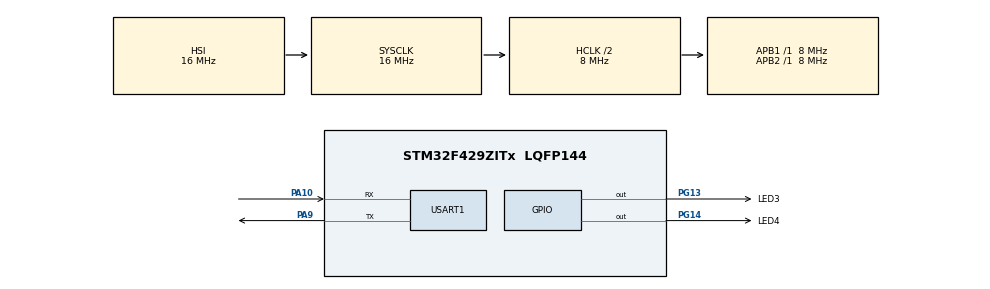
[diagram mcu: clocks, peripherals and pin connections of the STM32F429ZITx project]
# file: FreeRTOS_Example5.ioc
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FREERTOS.Tasks01=defaultTask,0,128,StartDefaultTask,Default,NULL,Dynamic,NULL,NULL
Mcu.Family=STM32F4
Mcu.Name=STM32F429ZITx
Mcu.Package=LQFP144
NVIC.PriorityGroup=NVIC_PRIORITYGROUP_4
NVIC.TIM6_DAC_IRQn=true\:0\:0\:false\:false\:true\:false\:false\:true
NVIC.TimeBase=TIM6_DAC_IRQn
NVIC.TimeBaseIP=TIM6
PA10.Mode=Asynchronous
PA10.Signal=USART1_RX
PA13.Mode=Serial_Wire
PA13.Signal=SYS_JTMS-SWDIO
PA14.Mode=Serial_Wire
PA14.Signal=SYS_JTCK-SWCLK
PA9.Mode=Asynchronous
PA9.Signal=USART1_TX
PG13.GPIO_Label=LED3
PG13.Signal=GPIO_Output
PG14.GPIO_Label=LED4
PG14.Signal=GPIO_Output
PH0/OSC_IN.Mode=HSE-External-Oscillator
PH0/OSC_IN.Signal=RCC_OSC_IN
PH1/OSC_OUT.Mode=HSE-External-Oscillator
PH1/OSC_OUT.Signal=RCC_OSC_OUT
ProjectManager.HeapSize=0x200
ProjectManager.StackSize=0x400
ProjectManager.TargetToolchain=TrueSTUDIO
RCC.AHBCLKDivider=RCC_SYSCLK_DIV2
RCC.AHBFreq_Value=8000000
RCC.APB1Freq_Value=8000000
RCC.APB1TimFreq_Value=8000000
RCC.APB2Freq_Value=8000000
RCC.APB2TimFreq_Value=8000000
RCC.CortexFreq_Value=8000000
RCC.HCLKFreq_Value=8000000
RCC.HSE_VALUE=8000000
RCC.HSI_VALUE=16000000
RCC.LSE_VALUE=32768
RCC.SYSCLKFreq_VALUE=16000000
RCC.VCOOutputFreq_Value=192000000
USART1.VirtualMode=VM_ASYNC
VP_FREERTOS_VS_CMSIS_V1.Mode=CMSIS_V1
VP_SYS_VS_tim6.Mode=TIM6
board=custom

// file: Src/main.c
/* USER CODE BEGIN Header */
/**
  ******************************************************************************
  * @file           : main.c
  * @brief          : Main program body
  ******************************************************************************
  * @attention
  *
  * <h2><center>&copy; Copyright (c) 2019 STMicroelectronics.
  * All rights reserved.</center></h2>
  *
  * This software component is licensed by ST under Ultimate Liberty license
  * SLA0044, the "License"; You may not use this file except in compliance with
  * the License. You may obtain a copy of the License at:
  *                             www.st.com/SLA0044
  *
  ******************************************************************************
  */
/* USER CODE END Header */

#include "main.h"
#include "cmsis_os.h"

/* USER CODE BEGIN Includes */
#include <string.h>
/* USER CODE END Includes */

/* USER CODE BEGIN PD */
//#define mainDELAY_LOOP_COUNT    (800)
#define mainDELAY_LOOP_COUNT    (10)
/* USER CODE END PD */

UART_HandleTypeDef huart1;

osThreadId defaultTaskHandle;

void SystemClock_Config(void);
static void MX_GPIO_Init(void);
static void MX_USART1_UART_Init(void);
void StartDefaultTask(void const * argument);

/* USER CODE BEGIN 0 */
void vTask1(void *pvParameters);
void vTask2(void *pvParameters);
/* USER CODE END 0 */

int main(void)
{

  /* MCU Configuration--------------------------------------------------------*/

  /* Reset of all peripherals, Initializes the Flash interface and the Systick. */
  HAL_Init();

  /* Configure the system clock */
  SystemClock_Config();

  /* Initialize all configured peripherals */
  MX_GPIO_Init();
  MX_USART1_UART_Init();

  /* Create the thread(s) */
  /* definition and creation of defaultTask */
  osThreadDef(defaultTask, StartDefaultTask, osPriorityNormal, 0, 128);
  defaultTaskHandle = osThreadCreate(osThread(defaultTask), NULL);

  /* USER CODE BEGIN RTOS_THREADS */
  /* add threads, ... */
  xTaskCreate(vTask1, "Task1", 1000, NULL, 1, NULL);
  xTaskCreate(vTask2, "Task2", 1000, NULL, 2, NULL);
  /* USER CODE END RTOS_THREADS */

  /* Start scheduler */
  osKernelStart();

  /* We should never get here as control is now taken by the scheduler */

  /* Infinite loop */
  while (1)
  {

    /* USER CODE BEGIN 3 */
  	//HAL_UART_Transmit(&huart1, (uint8_t *)"Idle state \r\n", strlen("Idle state\r\n"), 0xFFFFFFFF);
  }
  /* USER CODE END 3 */
}

void SystemClock_Config(void)
{
  RCC_OscInitTypeDef RCC_OscInitStruct = {0};
  RCC_ClkInitTypeDef RCC_ClkInitStruct = {0};

  /** Configure the main internal regulator output voltage
  */
  __HAL_RCC_PWR_CLK_ENABLE();
  __HAL_PWR_VOLTAGESCALING_CONFIG(PWR_REGULATOR_VOLTAGE_SCALE3);
  /** Initializes the CPU, AHB and APB busses clocks
  */
  RCC_OscInitStruct.OscillatorType = RCC_OSCILLATORTYPE_HSI;
  RCC_OscInitStruct.HSIState = RCC_HSI_ON;
  RCC_OscInitStruct.HSICalibrationValue = RCC_HSICALIBRATION_DEFAULT;
  RCC_OscInitStruct.PLL.PLLState = RCC_PLL_NONE;
  if (HAL_RCC_OscConfig(&RCC_OscInitStruct) != HAL_OK)
  {
    Error_Handler();
  }
  /** Initializes the CPU, AHB and APB busses clocks
  */
  RCC_ClkInitStruct.ClockType = RCC_CLOCKTYPE_HCLK|RCC_CLOCKTYPE_SYSCLK
                              |RCC_CLOCKTYPE_PCLK1|RCC_CLOCKTYPE_PCLK2;
  RCC_ClkInitStruct.SYSCLKSource = RCC_SYSCLKSOURCE_HSI;
  RCC_ClkInitStruct.AHBCLKDivider = RCC_SYSCLK_DIV2;
  RCC_ClkInitStruct.APB1CLKDivider = RCC_HCLK_DIV1;
  RCC_ClkInitStruct.APB2CLKDivider = RCC_HCLK_DIV1;

  if (HAL_RCC_ClockConfig(&RCC_ClkInitStruct, FLASH_LATENCY_0) != HAL_OK)
  {
    Error_Handler();
  }
}

static void MX_USART1_UART_Init(void)
{

  huart1.Instance = USART1;
  huart1.Init.BaudRate = 115200;
  huart1.Init.WordLength = UART_WORDLENGTH_8B;
  huart1.Init.StopBits = UART_STOPBITS_1;
  huart1.Init.Parity = UART_PARITY_NONE;
  huart1.Init.Mode = UART_MODE_TX_RX;
  huart1.Init.HwFlowCtl = UART_HWCONTROL_NONE;
  huart1.Init.OverSampling = UART_OVERSAMPLING_16;
  if (HAL_UART_Init(&huart1) != HAL_OK)
  {
    Error_Handler();
  }

}

static void MX_GPIO_Init(void)
{
  GPIO_InitTypeDef GPIO_InitStruct = {0};

  /* GPIO Ports Clock Enable */
  __HAL_RCC_GPIOH_CLK_ENABLE();
  __HAL_RCC_GPIOA_CLK_ENABLE();
  __HAL_RCC_GPIOG_CLK_ENABLE();

  /*Configure GPIO pin Output Level */
  HAL_GPIO_WritePin(GPIOG, LED3_Pin|LED4_Pin, GPIO_PIN_RESET);

  /*Configure GPIO pins : LED3_Pin LED4_Pin */
  GPIO_InitStruct.Pin = LED3_Pin|LED4_Pin;
  GPIO_InitStruct.Mode = GPIO_MODE_OUTPUT_PP;
  GPIO_InitStruct.Pull = GPIO_NOPULL;
  GPIO_InitStruct.Speed = GPIO_SPEED_FREQ_LOW;
  HAL_GPIO_Init(GPIOG, &GPIO_InitStruct);

}

/* USER CODE BEGIN 4 */
void vTask1(void *pvParameters)
{
    volatile unsigned long ul;

    for(;;){
    	  //HAL_GPIO_WritePin(LED4_GPIO_Port, LED4_Pin, GPIO_PIN_RESET);
    	  HAL_GPIO_WritePin(LED3_GPIO_Port, LED3_Pin, GPIO_PIN_SET);

        HAL_UART_Transmit(&huart1, (uint8_t *)"Task 1 is running\r\n", strlen("Task 1 is running\r\n"), 0xFFFFFFFF);
        //HAL_GPIO_TogglePin(LED3_GPIO_Port, LED3_Pin);

        //for(ul = 0; ul < mainDELAY_LOOP_COUNT; ul++);
        vTaskDelay(250 / portTICK_RATE_MS);
        HAL_GPIO_WritePin(LED3_GPIO_Port, LED3_Pin, GPIO_PIN_RESET);
    }
}

void vTask2(void *pvParameters)
{
    volatile unsigned long ul;

    portTickType xLastWakeTime;
    //const portTickType xFrequency = 100 / portTICK_RATE_MS;
    //pdMS_TO_TICKS( 250 )
    xLastWakeTime = xTaskGetTickCount();

    for(;;){
    		HAL_GPIO_WritePin(LED4_GPIO_Port, LED4_Pin, GPIO_PIN_SET);
    	  //HAL_GPIO_WritePin(LED4_GPIO_Port, LED4_Pin, GPIO_PIN_SET);

        HAL_UART_Transmit(&huart1, (uint8_t *)"Task 2 is running\r\n", strlen("Task 2 is running\r\n"), 0xFFFFFFFF);
        //HAL_GPIO_TogglePin(LED4_GPIO_Port, LED4_Pin);

        //for(ul = 0; ul < mainDELAY_LOOP_COUNT; ul++);
        //vTaskDelay(250 / portTICK_RATE_MS);
        //vTaskDelayUntil(&xLastWakeTime, (250/portTICK_RATE_MS));
        //vTaskDelayUntil(&xLastWakeTime, (250/portTICK_RATE_MS));

        vTaskDelayUntil(&xLastWakeTime, pdMS_TO_TICKS( 250 ));

        HAL_GPIO_WritePin(LED4_GPIO_Port, LED4_Pin, GPIO_PIN_RESET);
    }
}

/* USER CODE END 4 */

void StartDefaultTask(void const * argument)
{

  /* USER CODE BEGIN 5 */
  /* Infinite loop */
  for(;;)
  {
  	//HAL_GPIO_WritePin(LED4_GPIO_Port, LED4_Pin, GPIO_PIN_SET);
  	//HAL_UART_Transmit(&huart1, (uint8_t *)"Idle state \r\n", strlen("Idle state\r\n"), 0xFFFFFFFF);
    osDelay(1);
    //HAL_GPIO_WritePin(LED4_GPIO_Port, LED4_Pin, GPIO_PIN_RESET);
  }
  /* USER CODE END 5 */
}

void HAL_TIM_PeriodElapsedCallback(TIM_HandleTypeDef *htim)
{
  if (htim->Instance == TIM6) {
    HAL_IncTick();
  }
}

void Error_Handler(void)
{
}

/************************ (C) COPYRIGHT STMicroelectronics *****END OF FILE****/
